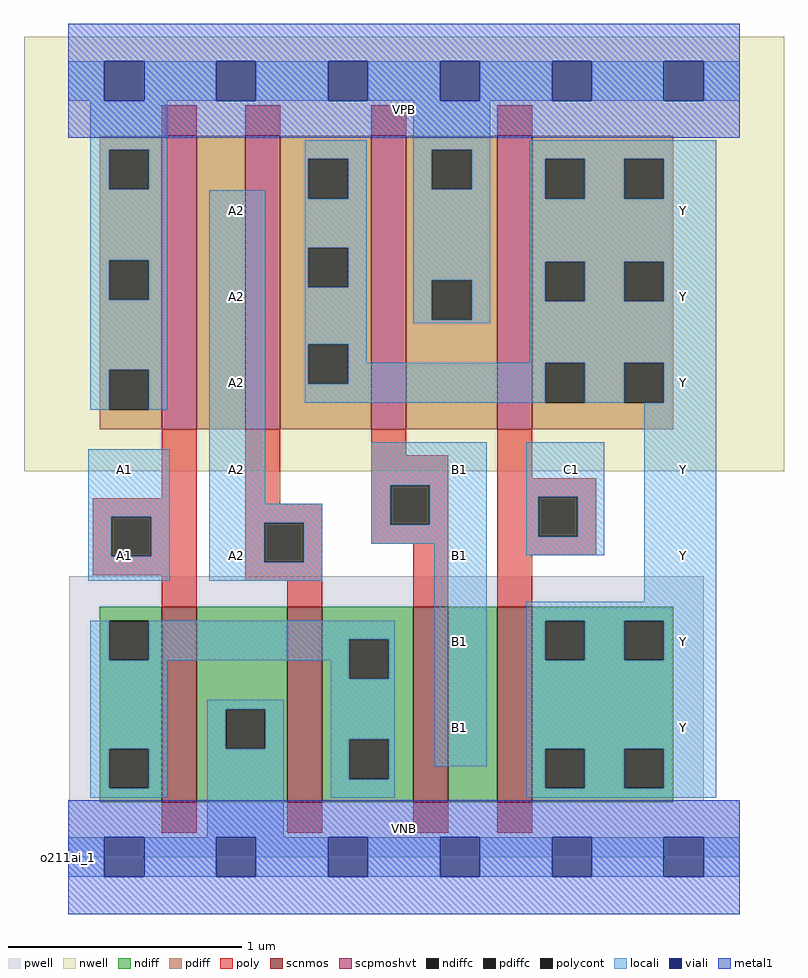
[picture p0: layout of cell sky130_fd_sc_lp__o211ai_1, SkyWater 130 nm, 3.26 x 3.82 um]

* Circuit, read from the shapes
.subckt sky130_fd_sc_lp__o211ai_1 A1 A2 B1 C1 VGND VNB VPB VPWR Y
XM1 VGND A1 n1 VNB sky130_fd_pr__nfet_01v8 w=0.84 l=0.15
XM2 n1 A2 VGND VNB sky130_fd_pr__nfet_01v8 w=0.84 l=0.15
XM3 n2 B1 n1 VNB sky130_fd_pr__nfet_01v8 w=0.84 l=0.15
XM4 Y C1 n2 VNB sky130_fd_pr__nfet_01v8 w=0.84 l=0.15
XM5 n3 A1 VPWR VPB sky130_fd_pr__pfet_01v8_hvt w=1.26 l=0.15
XM6 Y A2 n3 VPB sky130_fd_pr__pfet_01v8_hvt w=1.26 l=0.15
XM7 VPWR B1 Y VPB sky130_fd_pr__pfet_01v8_hvt w=1.26 l=0.15
XM8 Y C1 VPWR VPB sky130_fd_pr__pfet_01v8_hvt w=1.26 l=0.15
.ends

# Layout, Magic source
magic
tech sky130A
magscale 1 2
<< nwell >>
rect -38 331 614 704
<< pwell >>
rect 1 49 545 241
rect 0 0 576 49
<< scnmos >>
rect 80 47 110 215
rect 188 47 218 215
rect 296 47 326 215
rect 368 47 398 215
<< scpmoshvt >>
rect 80 367 110 619
rect 152 367 182 619
rect 260 367 290 619
rect 368 367 398 619
<< ndiff >>
rect 27 203 80 215
rect 27 169 35 203
rect 69 169 80 203
rect 27 93 80 169
rect 27 59 35 93
rect 69 59 80 93
rect 27 47 80 59
rect 110 127 188 215
rect 110 93 135 127
rect 169 93 188 127
rect 110 47 188 93
rect 218 187 296 215
rect 218 153 241 187
rect 275 153 296 187
rect 218 101 296 153
rect 218 67 241 101
rect 275 67 296 101
rect 218 47 296 67
rect 326 47 368 215
rect 398 203 519 215
rect 398 169 409 203
rect 443 169 477 203
rect 511 169 519 203
rect 398 93 519 169
rect 398 59 409 93
rect 443 59 477 93
rect 511 59 519 93
rect 398 47 519 59
<< pdiff >>
rect 27 607 80 619
rect 27 573 35 607
rect 69 573 80 607
rect 27 512 80 573
rect 27 478 35 512
rect 69 478 80 512
rect 27 418 80 478
rect 27 384 35 418
rect 69 384 80 418
rect 27 367 80 384
rect 110 367 152 619
rect 182 599 260 619
rect 182 565 206 599
rect 240 565 260 599
rect 182 523 260 565
rect 182 489 206 523
rect 240 489 260 523
rect 182 440 260 489
rect 182 406 206 440
rect 240 406 260 440
rect 182 367 260 406
rect 290 607 368 619
rect 290 573 312 607
rect 346 573 368 607
rect 290 495 368 573
rect 290 461 312 495
rect 346 461 368 495
rect 290 367 368 461
rect 398 599 519 619
rect 398 565 409 599
rect 443 565 477 599
rect 511 565 519 599
rect 398 511 519 565
rect 398 477 409 511
rect 443 477 477 511
rect 511 477 519 511
rect 398 424 519 477
rect 398 390 409 424
rect 443 390 477 424
rect 511 390 519 424
rect 398 367 519 390
<< ndiffc >>
rect 35 169 69 203
rect 35 59 69 93
rect 135 93 169 127
rect 241 153 275 187
rect 241 67 275 101
rect 409 169 443 203
rect 477 169 511 203
rect 409 59 443 93
rect 477 59 511 93
<< pdiffc >>
rect 35 573 69 607
rect 35 478 69 512
rect 35 384 69 418
rect 206 565 240 599
rect 206 489 240 523
rect 206 406 240 440
rect 312 573 346 607
rect 312 461 346 495
rect 409 565 443 599
rect 477 565 511 599
rect 409 477 443 511
rect 477 477 511 511
rect 409 390 443 424
rect 477 390 511 424
<< poly >>
rect 80 619 110 645
rect 152 619 182 645
rect 260 619 290 645
rect 368 619 398 645
rect 80 308 110 367
rect 21 292 110 308
rect 21 258 37 292
rect 71 258 110 292
rect 21 242 110 258
rect 80 215 110 242
rect 152 303 182 367
rect 260 345 290 367
rect 260 319 326 345
rect 152 287 218 303
rect 152 253 168 287
rect 202 253 218 287
rect 260 285 276 319
rect 310 285 326 319
rect 260 269 326 285
rect 152 237 218 253
rect 188 215 218 237
rect 296 215 326 269
rect 368 325 398 367
rect 368 309 453 325
rect 368 275 403 309
rect 437 275 453 309
rect 368 259 453 275
rect 368 215 398 259
rect 80 21 110 47
rect 188 21 218 47
rect 296 21 326 47
rect 368 21 398 47
<< polycont >>
rect 37 258 71 292
rect 168 253 202 287
rect 276 285 310 319
rect 403 275 437 309
<< locali >>
rect 0 649 31 683
rect 65 649 127 683
rect 161 649 223 683
rect 257 649 319 683
rect 353 649 415 683
rect 449 649 511 683
rect 545 649 576 683
rect 19 607 85 649
rect 19 573 35 607
rect 69 573 85 607
rect 19 512 85 573
rect 203 599 256 615
rect 19 478 35 512
rect 69 478 85 512
rect 19 418 85 478
rect 19 384 35 418
rect 69 384 85 418
rect 17 292 87 350
rect 17 258 37 292
rect 71 258 87 292
rect 17 237 87 258
rect 121 303 169 572
rect 203 565 206 599
rect 240 565 256 599
rect 203 523 256 565
rect 203 489 206 523
rect 240 489 256 523
rect 203 440 256 489
rect 296 607 362 649
rect 296 573 312 607
rect 346 573 362 607
rect 296 495 362 573
rect 296 461 312 495
rect 346 461 362 495
rect 296 458 362 461
rect 396 599 556 615
rect 396 565 409 599
rect 443 565 477 599
rect 511 565 556 599
rect 396 511 556 565
rect 396 477 409 511
rect 443 477 477 511
rect 511 477 556 511
rect 203 406 206 440
rect 240 424 256 440
rect 396 424 556 477
rect 240 406 409 424
rect 203 390 409 406
rect 443 390 477 424
rect 511 390 556 424
rect 260 319 359 356
rect 121 287 218 303
rect 121 253 168 287
rect 202 253 218 287
rect 260 285 276 319
rect 310 285 359 319
rect 260 269 359 285
rect 121 237 218 253
rect 19 169 35 203
rect 69 187 280 203
rect 69 169 241 187
rect 19 93 85 169
rect 225 153 241 169
rect 275 153 280 187
rect 19 59 35 93
rect 69 59 85 93
rect 19 51 85 59
rect 119 127 185 135
rect 119 93 135 127
rect 169 93 185 127
rect 119 17 185 93
rect 225 101 280 153
rect 225 67 241 101
rect 275 67 280 101
rect 314 78 359 269
rect 393 309 460 356
rect 393 275 403 309
rect 437 275 460 309
rect 393 259 460 275
rect 494 219 556 390
rect 393 203 556 219
rect 393 169 409 203
rect 443 169 477 203
rect 511 169 556 203
rect 393 93 556 169
rect 225 51 280 67
rect 393 59 409 93
rect 443 59 477 93
rect 511 59 556 93
rect 393 51 556 59
rect 0 -17 31 17
rect 65 -17 127 17
rect 161 -17 223 17
rect 257 -17 319 17
rect 353 -17 415 17
rect 449 -17 511 17
rect 545 -17 576 17
<< viali >>
rect 31 649 65 683
rect 127 649 161 683
rect 223 649 257 683
rect 319 649 353 683
rect 415 649 449 683
rect 511 649 545 683
rect 31 -17 65 17
rect 127 -17 161 17
rect 223 -17 257 17
rect 319 -17 353 17
rect 415 -17 449 17
rect 511 -17 545 17
<< metal1 >>
rect 0 683 576 715
rect 0 649 31 683
rect 65 649 127 683
rect 161 649 223 683
rect 257 649 319 683
rect 353 649 415 683
rect 449 649 511 683
rect 545 649 576 683
rect 0 617 576 649
rect 0 17 576 49
rect 0 -17 31 17
rect 65 -17 127 17
rect 161 -17 223 17
rect 257 -17 319 17
rect 353 -17 415 17
rect 449 -17 511 17
rect 545 -17 576 17
rect 0 -49 576 -17
<< labels >>
flabel pwell s 0 0 576 49 0 FreeSans 200 0 0 0 VNB
port 6 nsew ground bidirectional
flabel nwell s 0 617 576 666 0 FreeSans 200 0 0 0 VPB
port 7 nsew power bidirectional
rlabel comment s 0 0 0 0 4 o211ai_1
flabel metal1 s 0 617 576 666 0 FreeSans 340 0 0 0 VPWR
port 8 nsew power bidirectional
flabel metal1 s 0 0 576 49 0 FreeSans 340 0 0 0 VGND
port 5 nsew ground bidirectional
flabel locali s 31 242 65 276 0 FreeSans 340 0 0 0 A1
port 1 nsew signal input
flabel locali s 31 316 65 350 0 FreeSans 340 0 0 0 A1
port 1 nsew signal input
flabel locali s 127 242 161 276 0 FreeSans 340 0 0 0 A2
port 2 nsew signal input
flabel locali s 127 316 161 350 0 FreeSans 340 0 0 0 A2
port 2 nsew signal input
flabel locali s 127 390 161 424 0 FreeSans 340 0 0 0 A2
port 2 nsew signal input
flabel locali s 127 464 161 498 0 FreeSans 340 0 0 0 A2
port 2 nsew signal input
flabel locali s 127 538 161 572 0 FreeSans 340 0 0 0 A2
port 2 nsew signal input
flabel locali s 415 316 449 350 0 FreeSans 340 0 0 0 C1
port 4 nsew signal input
flabel locali s 511 464 545 498 0 FreeSans 340 0 0 0 Y
port 9 nsew signal output
flabel locali s 511 538 545 572 0 FreeSans 340 0 0 0 Y
port 9 nsew signal output
flabel locali s 511 390 545 424 0 FreeSans 340 0 0 0 Y
port 9 nsew signal output
flabel locali s 511 168 545 202 0 FreeSans 340 0 0 0 Y
port 9 nsew signal output
flabel locali s 511 242 545 276 0 FreeSans 340 0 0 0 Y
port 9 nsew signal output
flabel locali s 511 316 545 350 0 FreeSans 340 0 0 0 Y
port 9 nsew signal output
flabel locali s 319 316 353 350 0 FreeSans 340 0 0 0 B1
port 3 nsew signal input
flabel locali s 511 94 545 128 0 FreeSans 340 0 0 0 Y
port 9 nsew signal output
flabel locali s 319 242 353 276 0 FreeSans 340 0 0 0 B1
port 3 nsew signal input
flabel locali s 319 168 353 202 0 FreeSans 340 0 0 0 B1
port 3 nsew signal input
flabel locali s 319 94 353 128 0 FreeSans 340 0 0 0 B1
port 3 nsew signal input
<< properties >>
string LEFsite unit
string LEFclass CORE
string FIXED_BBOX 0 0 576 666
string GDS_FILE $PDKPATH/libs.ref/sky130_fd_sc_lp/gds/sky130_fd_sc_lp.gds
string LEFsymmetry X Y R90
string GDS_END 6867530
string GDS_START 6860162
<< end >>
